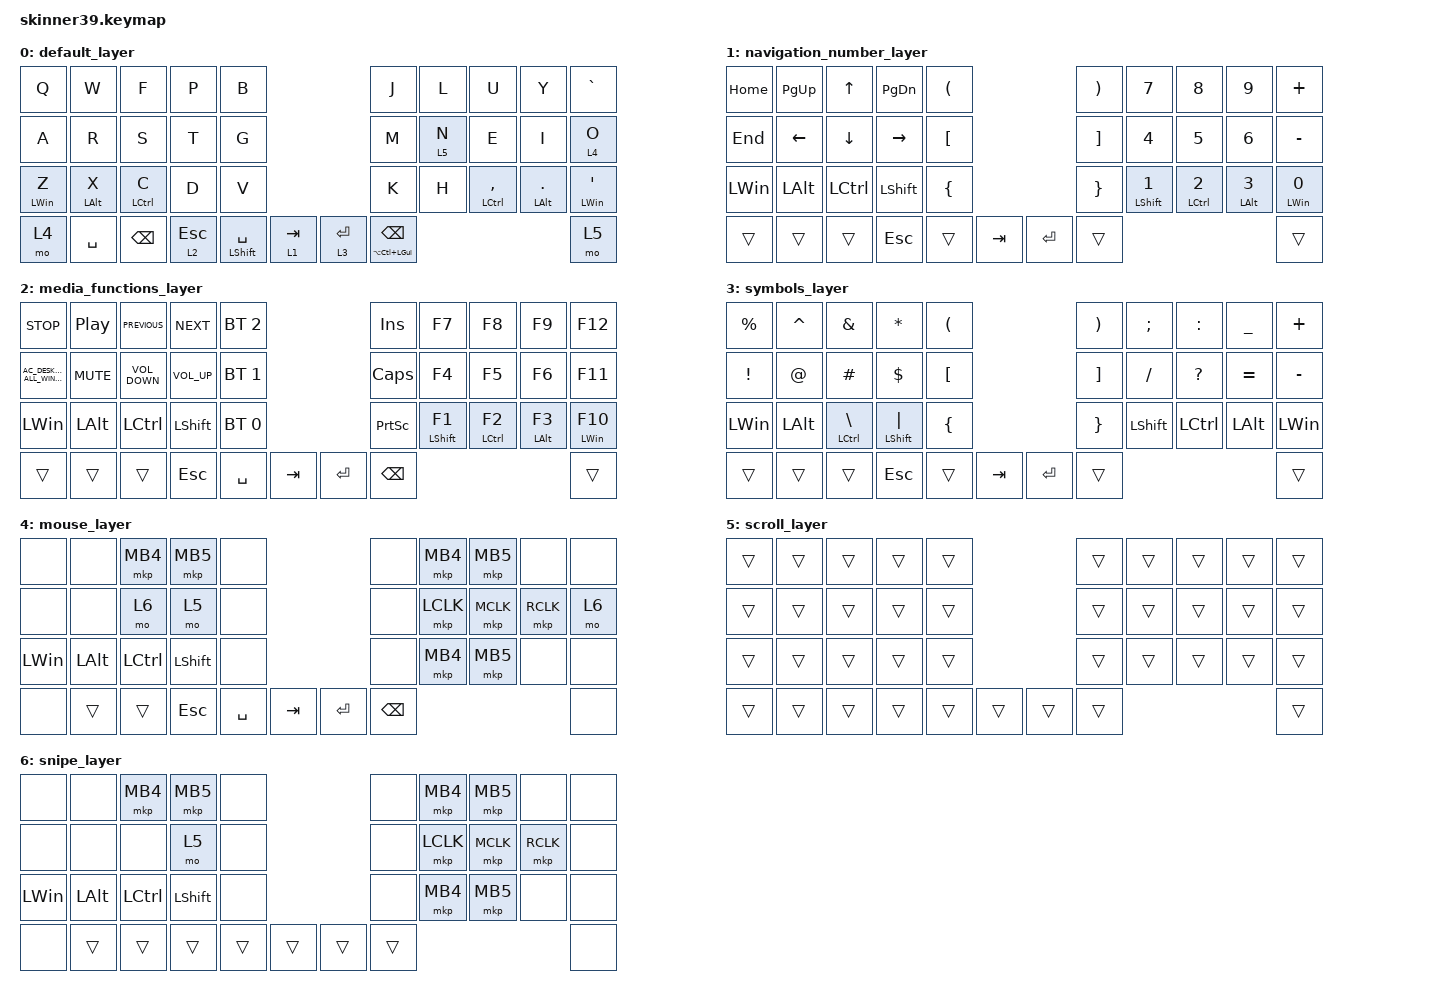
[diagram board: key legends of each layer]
#include <behaviors.dtsi>
#include <dt-bindings/zmk/bt.h>
#include <dt-bindings/zmk/keys.h>
#include <dt-bindings/zmk/pointing.h>

/ {
    behaviors {
        hml: hml {
            compatible = "zmk,behavior-hold-tap";
            label = "Home row mod, left side";
            bindings = <&kp>, <&kp>;

            #binding-cells = <2>;
            tapping-term-ms = <280>;
            quick-tap-ms = <175>;
            flavor = "balanced";
            require-prior-idle-ms = <150>;
            hold-trigger-on-release;
            hold-trigger-key-positions = <5 6 7 8 9 15 16 17 18 19 25 26 27 28 29 36 37 38 33 34 35>;
        };

        hmr: hmr {
            compatible = "zmk,behavior-hold-tap";
            label = "Home row mod, right side";
            bindings = <&kp>, <&kp>;

            #binding-cells = <2>;
            tapping-term-ms = <280>;
            quick-tap-ms = <175>;
            require-prior-idle-ms = <150>;
            flavor = "balanced";
            hold-trigger-on-release;
            hold-trigger-key-positions = <0 1 2 3 4 10 11 12 13 14 20 21 22 23 24 30 31 32 33 34 35 36 37>;
        };

        ltm: ltm {
            compatible = "zmk,behavior-hold-tap";
            label = "Layer tap modified";
            bindings = <&mo>, <&kp>;

            #binding-cells = <2>;
            tapping-term-ms = <240>;
            flavor = "balanced";
            quick-tap-ms = <150>;
            require-prior-idle-ms = <150>;
        };

        trm: trm {
            compatible = "zmk,behavior-hold-tap";
            label = "Thumb row mod";
            bindings = <&kp>, <&kp>;

            #binding-cells = <2>;
            tapping-term-ms = <200>;
            quick-tap-ms = <150>;
            flavor = "balanced";
            require-prior-idle-ms = <150>;
        };

        ltmou: ltmou {
            compatible = "zmk,behavior-hold-tap";
            label = "Layer tap mouse";
            bindings = <&mo>, <&kp>;

            #binding-cells = <2>;
            tapping-term-ms = <280>;
            flavor = "tap-preferred";
            hold-trigger-on-release;
            quick-tap-ms = <180>;
            require-prior-idle-ms = <180>;
        };
    };

    keymap {
        compatible = "zmk,keymap";

        default_layer {
            bindings = <
  &kp Q            &kp W            &kp F          &kp P          &kp B                                        &kp J                            &kp L       &kp U             &kp Y                 &kp GRAVE
  &kp A            &kp R            &kp S          &kp T          &kp G                                        &kp M                            &ltmou 5 N  &kp E             &kp I                 &ltmou 4 O
  &hml LEFT_WIN Z  &hml LEFT_ALT X  &hml LCTRL C   &kp D          &kp V                                        &kp K                            &kp H       &hmr LCTRL COMMA  &hmr LEFT_ALT PERIOD  &hmr LEFT_WIN SINGLE_QUOTE
  &mo 4            &kp SPACE        &kp BACKSPACE  &ltm 2 ESCAPE  &trm LSHIFT SPACE  &ltm 1 TAB  &ltm 3 ENTER  &trm LA(LC(LEFT_GUI)) BACKSPACE                                                      &mo 5
            >;
        };

        navigation_number_layer {
            bindings = <
  &kp HOME      &kp PAGE_UP     &kp UP_ARROW    &kp PAGE_DOWN    &kp LEFT_PARENTHESIS                      &kp RIGHT_PARENTHESIS  &kp NUMBER_7          &kp NUMBER_8         &kp NUMBER_9            &kp PLUS
  &kp END       &kp LEFT_ARROW  &kp DOWN_ARROW  &kp RIGHT_ARROW  &kp LEFT_BRACKET                          &kp RIGHT_BRACKET      &kp NUMBER_4          &kp N5               &kp NUMBER_6            &kp MINUS
  &kp LEFT_WIN  &kp LEFT_ALT    &kp LCTRL       &kp LSHIFT       &kp LEFT_BRACE                            &kp RIGHT_BRACE        &hmr LSHIFT NUMBER_1  &hmr LCTRL NUMBER_2  &hmr LEFT_ALT NUMBER_3  &hmr LEFT_WIN NUMBER_0
  &trans        &trans          &trans          &kp ESC          &trans                &kp TAB  &kp ENTER  &trans                                                                                    &trans
            >;
        };

        media_functions_layer {
            bindings = <
  &kp C_STOP                         &kp C_PLAY_PAUSE  &kp C_PREVIOUS     &kp C_NEXT       &bt BT_SEL 2                      &kp INSERT       &kp F7              &kp F8         &kp F9            &kp F12
  &kp C_AC_DESKTOP_SHOW_ALL_WINDOWS  &kp K_MUTE        &kp C_VOLUME_DOWN  &kp C_VOLUME_UP  &bt BT_SEL 1                      &kp CAPSLOCK     &kp F4              &kp F5         &kp F6            &kp F11
  &kp LEFT_WIN                       &kp LEFT_ALT      &kp LCTRL          &kp LEFT_SHIFT   &bt BT_SEL 0                      &kp PRINTSCREEN  &hmr LEFT_SHIFT F1  &hmr LCTRL F2  &hmr LEFT_ALT F3  &hmr LEFT_WIN F10
  &trans                             &trans            &trans             &kp ESC          &kp SPACE     &kp TAB  &kp ENTER  &kp BACKSPACE                                                         &trans
            >;
        };

        symbols_layer {
            bindings = <
  &kp PERCENT      &kp CARET     &kp AMPERSAND         &kp ASTERISK      &kp LEFT_PARENTHESIS                      &kp RIGHT_PARENTHESIS  &kp SEMICOLON   &kp COLON     &kp UNDERSCORE  &kp PLUS
  &kp EXCLAMATION  &kp AT_SIGN   &kp HASH              &kp DOLLAR        &kp LEFT_BRACKET                          &kp RIGHT_BRACKET      &kp SLASH       &kp QUESTION  &kp EQUAL       &kp MINUS
  &kp LEFT_WIN     &kp LEFT_ALT  &hml LCTRL BACKSLASH  &hml LSHIFT PIPE  &kp LEFT_BRACE                            &kp RIGHT_BRACE        &kp LEFT_SHIFT  &kp LCTRL     &kp LEFT_ALT    &kp LEFT_WIN
  &trans           &trans        &trans                &kp ESC           &trans                &kp TAB  &kp ENTER  &trans                                                               &trans
            >;
        };

        mouse_layer {
            bindings = <
  &none         &none         &mkp MB4   &mkp MB5        &none                          &none          &mkp MB4   &mkp MB5   &none      &none
  &none         &none         &mo 6      &mo 5           &none                          &none          &mkp LCLK  &mkp MCLK  &mkp RCLK  &mo 6
  &kp LEFT_WIN  &kp LEFT_ALT  &kp LCTRL  &kp LEFT_SHIFT  &none                          &none          &mkp MB4   &mkp MB5   &none      &none
  &none         &trans        &trans     &kp ESCAPE      &kp SPACE  &kp TAB  &kp ENTER  &kp BACKSPACE                                   &none
            >;
        };

        scroll_layer {
            bindings = <
  &trans  &trans  &trans  &trans  &trans                  &trans  &trans  &trans  &trans  &trans
  &trans  &trans  &trans  &trans  &trans                  &trans  &trans  &trans  &trans  &trans
  &trans  &trans  &trans  &trans  &trans                  &trans  &trans  &trans  &trans  &trans
  &trans  &trans  &trans  &trans  &trans  &trans  &trans  &trans                          &trans
            >;
        };

        snipe_layer {
            bindings = <
  &none         &none         &mkp MB4   &mkp MB5        &none                   &none   &mkp MB4   &mkp MB5   &none      &none
  &none         &none         &none      &mo 5           &none                   &none   &mkp LCLK  &mkp MCLK  &mkp RCLK  &none
  &kp LEFT_WIN  &kp LEFT_ALT  &kp LCTRL  &kp LEFT_SHIFT  &none                   &none   &mkp MB4   &mkp MB5   &none      &none
  &none         &trans        &trans     &trans          &trans  &trans  &trans  &trans                                   &none
            >;
        };
    };
};
